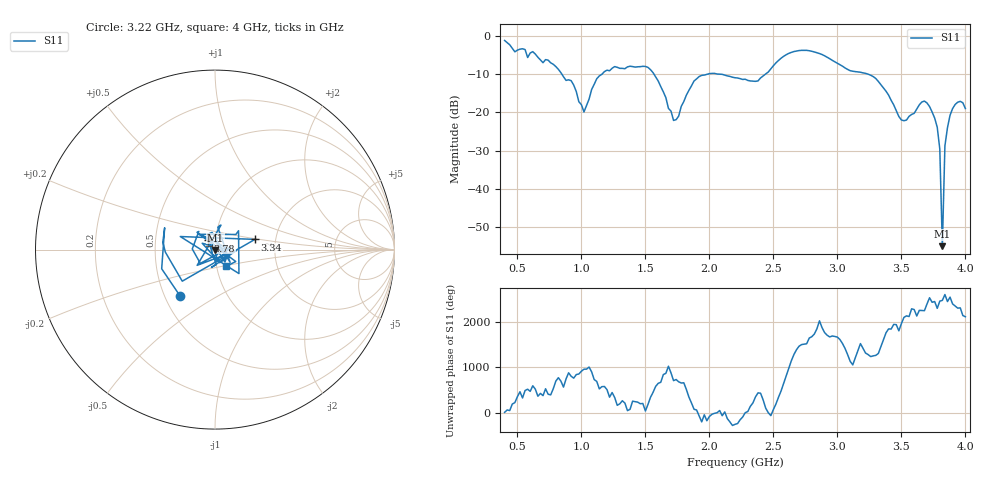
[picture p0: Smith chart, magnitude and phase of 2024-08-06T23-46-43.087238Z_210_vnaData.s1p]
!Created with skrf (http://scikit-rf.org).
# Hz S RI R 50.0
!freq ReS11 ImS11
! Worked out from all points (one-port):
!   181 points, 400 MHz to 4 GHz, reference 50 ohm
!   lowest |S11| = -55.0 dB at 3.82 GHz (marker M1), VSWR 1.00, Z = 50.1 - j0.155 ohm
!   |S11| at or under -10 dB: 1.567 GHz to 1.987 GHz (420.6 MHz wide, 23.7 % of centre); 2.073 GHz to 2.439 GHz (365.5 MHz wide, 16.2 % of centre); 3.239 GHz to end of sweep (the widest 3 of 4)
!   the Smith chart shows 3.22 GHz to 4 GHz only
!   S11 on the Smith chart (normalised r, x): 3.22 GHz: 0.60, -0.35; 3.34 GHz: 1.56, +0.19; 3.78 GHz: 0.92, +0.09; 4 GHz: 1.11, -0.21
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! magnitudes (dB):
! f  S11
! 400 MHz  -1.2
! 740 MHz  -6.3
! 860 MHz  -10.7
! 920 MHz  -11.7
! 1.02 GHz  -19.9
! 1.12 GHz  -11.2
! 1.3 GHz  -8.5
! 1.52 GHz  -8.2
! 1.6 GHz  -11.8
! 1.72 GHz  -22.1
! 1.76 GHz  -21.0
! 1.92 GHz  -10.6
! 2.2 GHz  -11.0
! 2.38 GHz  -11.8
! 2.66 GHz  -4.1
! 3.1 GHz  -9.1
! 3.22 GHz  -9.8
! 3.34 GHz  -12.8
! 3.5 GHz  -22.0
! 3.56 GHz  -21.0
! 3.68 GHz  -17.1
! 3.78 GHz  -23.9
! 3.8 GHz  -29.6
! 3.82 GHz  -55.0
! 3.84 GHz  -28.8
! 3.86 GHz  -24.0
! 3.92 GHz  -17.9
! 4 GHz  -19.0
